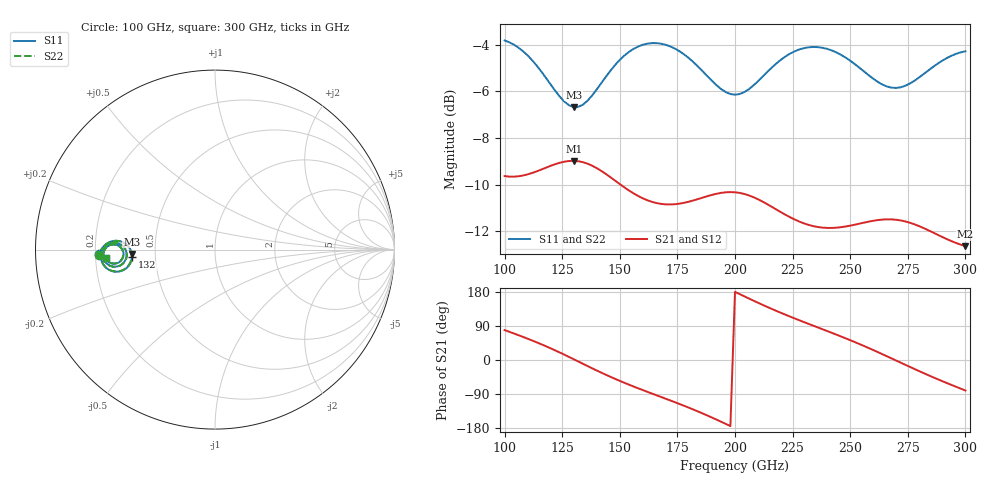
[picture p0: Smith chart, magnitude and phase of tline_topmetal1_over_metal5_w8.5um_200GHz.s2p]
#  GHZ S DB R 50
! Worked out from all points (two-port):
!   101 points, 100 GHz to 300 GHz, reference 50 ohm
!   highest |S21| = -8.98 dB at 130 GHz (marker M1); lowest = -12.6 dB at 300 GHz (marker M2)
!   |S21| within 3 dB of the highest: start of sweep to 284.4 GHz
!   lowest |S11| = -6.7 dB at 130 GHz (marker M3), VSWR 2.73, Z = 18.3 - j1.13 ohm
!   |S11| at or under -10 dB: nowhere
!   |S22| runs from -6.6 to -3.8 dB; largest |S21 - S12| = 3e-13
!   S11 on the Smith chart (normalised r, x): 100 GHz: 0.22, -0.02; 132 GHz: 0.37, -0.04; 300 GHz: 0.24, -0.04
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100  -3.81 -177.6  -9.63 78.9  -9.63 78.9  -3.81 -177.5
116  -5.15 174.8  -9.35 41.4  -9.35 41.4  -5.14 175.0
124  -6.23 177.2  -9.06 19.6  -9.06 19.6  -6.20 177.3
130  -6.67 -177.0  -8.98 2.0  -8.98 2.0  -6.63 -177.0
132  -6.66 -174.7  -8.99 -4.0  -8.99 -4.0  -6.63 -174.8
134  -6.57 -172.6  -9.03 -10.0  -9.03 -10.0  -6.53 -172.6
142  -5.64 -167.4  -9.41 -33.5  -9.41 -33.5  -5.62 -167.5
150  -4.65 -168.2  -9.97 -55.1  -9.97 -55.1  -4.64 -168.3
160  -4.00 -173.1  -10.58 -79.4  -10.58 -79.4  -4.00 -173.3
168  -3.95 -177.7  -10.82 -97.8  -10.82 -97.8  -3.96 -177.9
184  -4.94 176.2  -10.61 -136.0  -10.61 -136.0  -4.95 176.0
192  -5.74 177.6  -10.39 -157.4  -10.39 -157.4  -5.76 177.5
200  -6.14 -177.0  -10.32 179.8  -10.32 179.8  -6.16 -177.0
208  -5.74 -171.6  -10.53 156.7  -10.53 156.7  -5.76 -171.6
216  -4.98 -170.3  -10.95 134.7  -10.95 134.7  -4.99 -170.2
224  -4.37 -172.3  -11.40 114.3  -11.40 114.3  -4.38 -172.2
234  -4.09 -176.7  -11.77 90.5  -11.77 90.5  -4.09 -176.6
252  -4.83 177.2  -11.71 47.3  -11.71 47.3  -4.81 177.2
268  -5.84 -178.3  -11.49 4.1  -11.49 4.1  -5.81 -178.3
276  -5.66 -173.9  -11.63 -18.5  -11.63 -18.5  -5.63 -174.0
284  -5.09 -172.0  -11.96 -40.3  -11.96 -40.3  -5.08 -172.1
300  -4.28 -175.5  -12.63 -80.5  -12.63 -80.5  -4.28 -175.7
